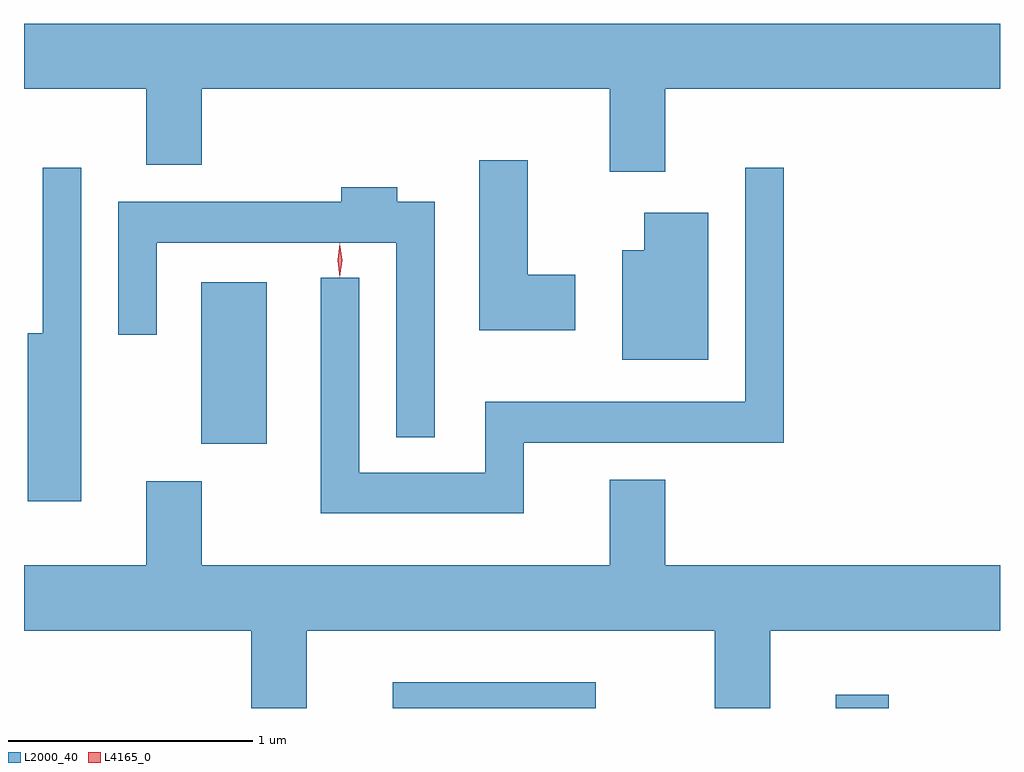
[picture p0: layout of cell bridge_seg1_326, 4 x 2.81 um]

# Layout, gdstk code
import gdstk
lib = gdstk.Library(unit=1e-6, precision=1e-09)
def R(c, l, rs):  # rectangles x0, y0, x1, y1
    for r in rs: c.add(gdstk.rectangle(r[:2], r[2:], *l))
def P(c, l, *ps):  # polygons
    for p in ps: c.add(gdstk.Polygon(p, *l))
L2000_40 = (2000, 40)
L4165_0 = (4165, 0)

bridge_seg1_326 = lib.new_cell('bridge_seg1_326')
R(bridge_seg1_326, L2000_40, [(936.811,874.837,937.644,874.944), (938.626,874.837,938.844,874.894), (936.026,875.921,936.294,876.584)])
P(bridge_seg1_326, L2000_40, [(937.929,877.376),(939.3,877.376),(939.3,877.644),(935.3,877.644),(935.3,877.376),(935.801,877.376),(935.801,877.066),(936.029,877.066),(936.029,877.376),(937.701,877.376),(937.701,877.036),(937.929,877.036)],
  [(937.559,876.614),(937.364,876.614),(937.364,877.084),(937.166,877.084),(937.166,876.386),(937.559,876.386)],
  [(937.349,875.926),(938.414,875.926),(938.414,877.053),(938.256,877.053),(938.256,876.094),(937.191,876.094),(937.191,875.804),(936.674,875.804),(936.674,876.603),(936.516,876.603),(936.516,875.636),(937.349,875.636)],
  [(935.534,877.053),(935.376,877.053),(935.376,876.374),(935.316,876.374),(935.316,875.686),(935.534,875.686)],
  [(936.984,876.914),(936.829,876.914),(936.829,876.974),(936.601,876.974),(936.601,876.914),(935.686,876.914),(935.686,876.368),(935.844,876.368),(935.844,876.746),(936.826,876.746),(936.826,875.948),(936.984,875.948)],
  [(938.104,876.869),(937.841,876.869),(937.841,876.714),(937.751,876.714),(937.751,876.266),(938.104,876.266)],
  [(936.459,875.156),(938.131,875.156),(938.131,874.837),(938.359,874.837),(938.359,875.156),(939.3,875.156),(939.3,875.424),(937.929,875.424),(937.929,875.774),(937.701,875.774),(937.701,875.424),(936.029,875.424),(936.029,875.769),(935.801,875.769),(935.801,875.424),(935.3,875.424),(935.3,875.156),(936.231,875.156),(936.231,874.837),(936.459,874.837)])
P(bridge_seg1_326, L4165_0, [(936.595,876.607),(936.594,876.608),(936.585,876.674),(936.594,876.74),(936.595,876.74),(936.595,876.74),(936.605,876.674),(936.595,876.608)],
  [(936.594,876.604),(936.585,876.673),(936.594,876.742),(936.595,876.743),(936.595,876.742),(936.605,876.673),(936.595,876.604),(936.595,876.604)])

lib.write_gds('bridge_seg1_326.gds')
